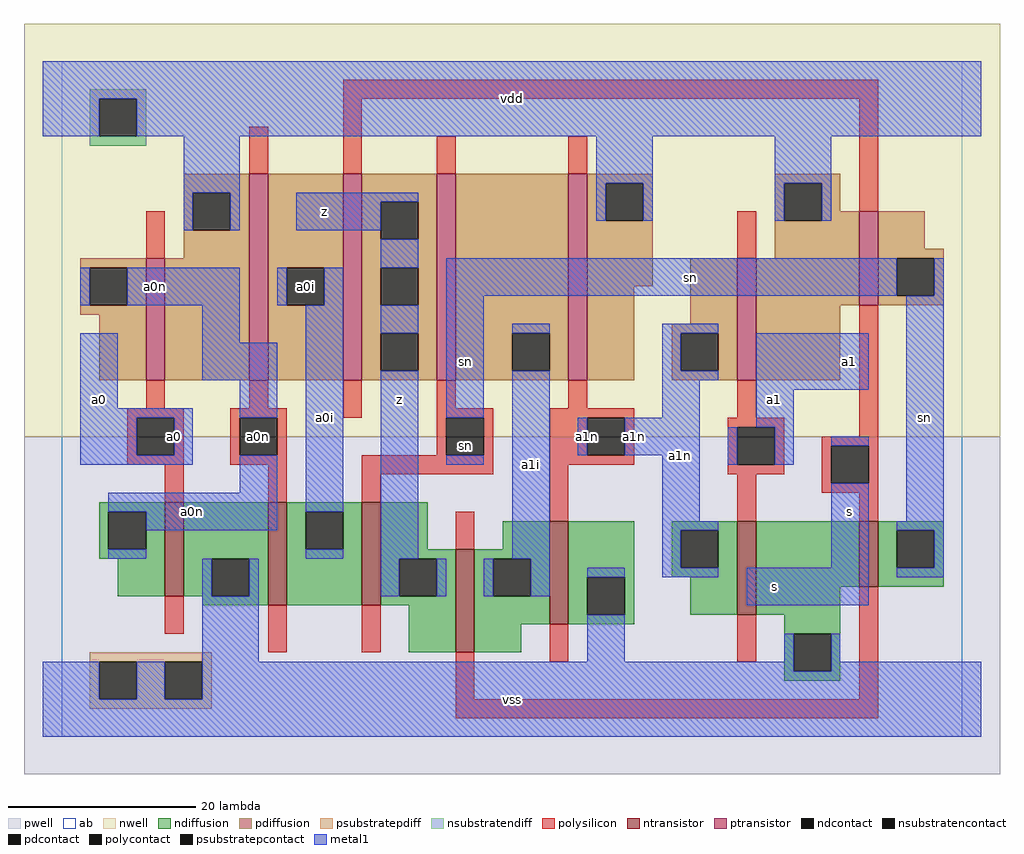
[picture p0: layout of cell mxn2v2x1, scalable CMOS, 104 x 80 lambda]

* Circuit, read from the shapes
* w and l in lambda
.subckt mxn2v2x1 a0 a0i a0n a1 a1i a1n s sn vdd vss z
M1 vss a0 a0n vss nfet w=10 l=2
M2 a0i a0n vss vss nfet w=11 l=2
M3 z sn a0i vss nfet w=11 l=2
M4 a1i s z vss nfet w=11 l=2
M5 vss a1n a1i vss nfet w=11 l=2
M6 vss a1 a1n vss nfet w=10 l=2
M7 sn s vss vss nfet w=7 l=2
M8 vdd a0 a0n vdd pfet w=13 l=2
M9 a0i a0n vdd vdd pfet w=22 l=2
M10 z s a0i vdd pfet w=22 l=2
M11 a1i sn z vdd pfet w=22 l=2
M12 vdd a1n a1i vdd pfet w=22 l=2
M13 vdd a1 a1n vdd pfet w=13 l=2
M14 sn s vdd vdd pfet w=10 l=2
.ends

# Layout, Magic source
magic
tech scmos
<< ab >>
rect 0 0 96 72
<< pwell >>
rect -4 -4 100 32
<< nwell >>
rect -4 32 100 76
<< polysilicon >>
rect 30 68 87 70
rect 20 60 22 65
rect 30 60 32 68
rect 40 60 42 64
rect 54 60 56 64
rect 9 51 11 56
rect 72 51 74 56
rect 85 56 87 68
rect 9 35 11 38
rect 20 35 22 38
rect 7 34 13 35
rect 7 30 8 34
rect 12 30 13 34
rect 7 29 13 30
rect 18 34 24 35
rect 30 34 32 38
rect 40 35 42 38
rect 54 35 56 38
rect 40 34 46 35
rect 18 30 19 34
rect 23 30 24 34
rect 40 30 41 34
rect 45 30 46 34
rect 18 29 24 30
rect 11 25 13 29
rect 22 25 24 29
rect 32 28 46 30
rect 52 34 61 35
rect 72 34 74 38
rect 52 30 56 34
rect 60 30 61 34
rect 52 29 61 30
rect 71 33 77 34
rect 71 29 72 33
rect 76 29 77 33
rect 85 32 87 46
rect 32 25 34 28
rect 11 11 13 15
rect 42 20 44 24
rect 52 23 54 29
rect 71 28 77 29
rect 81 31 87 32
rect 72 23 74 28
rect 81 27 82 31
rect 86 27 87 31
rect 81 26 87 27
rect 85 23 87 26
rect 22 9 24 14
rect 32 9 34 14
rect 42 4 44 9
rect 52 8 54 12
rect 72 8 74 13
rect 85 4 87 16
rect 42 2 87 4
<< ndiffusion >>
rect 4 24 11 25
rect 4 20 5 24
rect 9 20 11 24
rect 4 19 11 20
rect 6 15 11 19
rect 13 19 22 25
rect 13 15 16 19
rect 20 15 22 19
rect 15 14 22 15
rect 24 24 32 25
rect 24 20 26 24
rect 30 20 32 24
rect 24 14 32 20
rect 34 20 39 25
rect 47 20 52 23
rect 34 19 42 20
rect 34 15 36 19
rect 40 15 42 19
rect 34 14 42 15
rect 37 9 42 14
rect 44 19 52 20
rect 44 15 46 19
rect 50 15 52 19
rect 44 12 52 15
rect 54 17 61 23
rect 65 22 72 23
rect 65 18 66 22
rect 70 18 72 22
rect 65 17 72 18
rect 54 13 56 17
rect 60 13 61 17
rect 67 13 72 17
rect 74 16 85 23
rect 87 22 94 23
rect 87 18 89 22
rect 93 18 94 22
rect 87 16 94 18
rect 74 13 83 16
rect 54 12 61 13
rect 44 9 49 12
rect 77 11 83 13
rect 77 7 78 11
rect 82 7 83 11
rect 77 6 83 7
<< pdiffusion >>
rect 13 58 20 60
rect 13 54 14 58
rect 18 54 20 58
rect 13 51 20 54
rect 2 50 9 51
rect 2 46 3 50
rect 7 46 9 50
rect 2 45 9 46
rect 4 38 9 45
rect 11 38 20 51
rect 22 50 30 60
rect 22 46 24 50
rect 28 46 30 50
rect 22 38 30 46
rect 32 57 40 60
rect 32 53 34 57
rect 38 53 40 57
rect 32 50 40 53
rect 32 46 34 50
rect 38 46 40 50
rect 32 43 40 46
rect 32 39 34 43
rect 38 39 40 43
rect 32 38 40 39
rect 42 43 54 60
rect 42 39 48 43
rect 52 39 54 43
rect 42 38 54 39
rect 56 59 63 60
rect 56 55 58 59
rect 62 55 63 59
rect 76 59 83 60
rect 56 48 63 55
rect 76 55 77 59
rect 81 56 83 59
rect 81 55 85 56
rect 76 51 85 55
rect 56 38 61 48
rect 67 44 72 51
rect 65 43 72 44
rect 65 39 66 43
rect 70 39 72 43
rect 65 38 72 39
rect 74 46 85 51
rect 87 52 92 56
rect 87 51 94 52
rect 87 47 89 51
rect 93 47 94 51
rect 87 46 94 47
rect 74 38 83 46
<< metal1 >>
rect -2 68 98 72
rect -2 64 4 68
rect 8 64 98 68
rect 13 58 19 64
rect 57 59 63 64
rect 13 54 14 58
rect 18 54 19 58
rect 25 57 38 58
rect 25 54 34 57
rect 57 55 58 59
rect 62 55 63 59
rect 76 59 82 64
rect 76 55 77 59
rect 81 55 82 59
rect 34 50 38 53
rect 2 46 3 50
rect 7 46 19 50
rect 23 46 24 50
rect 28 46 30 50
rect 2 35 6 43
rect 15 42 19 46
rect 15 38 23 42
rect 2 34 14 35
rect 2 30 8 34
rect 12 30 14 34
rect 2 29 14 30
rect 19 34 23 38
rect 19 26 23 30
rect 5 24 23 26
rect 9 22 23 24
rect 26 24 30 46
rect 5 19 9 20
rect 26 19 30 20
rect 34 43 38 46
rect 34 19 38 39
rect 41 47 89 51
rect 93 47 94 51
rect 41 34 45 47
rect 41 29 45 30
rect 48 43 52 44
rect 48 19 52 39
rect 64 43 70 44
rect 64 39 66 43
rect 64 38 70 39
rect 64 34 68 38
rect 55 30 56 34
rect 60 30 68 34
rect 74 37 86 43
rect 74 33 78 37
rect 15 15 16 19
rect 20 15 21 19
rect 34 15 36 19
rect 40 15 41 19
rect 45 15 46 19
rect 50 15 52 19
rect 64 23 68 30
rect 71 29 72 33
rect 76 29 78 33
rect 82 31 86 32
rect 64 22 70 23
rect 64 18 66 22
rect 82 18 86 27
rect 90 23 94 47
rect 56 17 60 18
rect 64 17 70 18
rect 15 8 21 15
rect 73 14 86 18
rect 89 22 94 23
rect 93 18 94 22
rect 89 17 94 18
rect 56 8 60 13
rect 77 8 78 11
rect -2 4 4 8
rect 8 4 11 8
rect 15 7 78 8
rect 82 8 83 11
rect 82 7 98 8
rect 15 4 98 7
rect -2 0 98 4
<< ntransistor >>
rect 11 15 13 25
rect 22 14 24 25
rect 32 14 34 25
rect 42 9 44 20
rect 52 12 54 23
rect 72 13 74 23
rect 85 16 87 23
<< ptransistor >>
rect 9 38 11 51
rect 20 38 22 60
rect 30 38 32 60
rect 40 38 42 60
rect 54 38 56 60
rect 72 38 74 51
rect 85 46 87 56
<< polycontact >>
rect 8 30 12 34
rect 19 30 23 34
rect 41 30 45 34
rect 56 30 60 34
rect 72 29 76 33
rect 82 27 86 31
<< ndcontact >>
rect 5 20 9 24
rect 16 15 20 19
rect 26 20 30 24
rect 36 15 40 19
rect 46 15 50 19
rect 66 18 70 22
rect 56 13 60 17
rect 89 18 93 22
rect 78 7 82 11
<< pdcontact >>
rect 14 54 18 58
rect 3 46 7 50
rect 24 46 28 50
rect 34 53 38 57
rect 34 46 38 50
rect 34 39 38 43
rect 48 39 52 43
rect 58 55 62 59
rect 77 55 81 59
rect 66 39 70 43
rect 89 47 93 51
<< psubstratepcontact >>
rect 4 4 8 8
rect 11 4 15 8
<< nsubstratencontact >>
rect 4 64 8 68
<< psubstratepdiff >>
rect 3 8 16 9
rect 3 4 4 8
rect 8 4 11 8
rect 15 4 16 8
rect 3 3 16 4
<< nsubstratendiff >>
rect 3 68 9 69
rect 3 64 4 68
rect 8 64 9 68
rect 3 63 9 64
<< labels >>
rlabel polycontact 21 32 21 32 6 a0n
rlabel polycontact 43 31 43 31 6 sn
rlabel polysilicon 56 32 56 32 6 a1n
rlabel metal1 12 32 12 32 6 a0
rlabel metal1 4 36 4 36 6 a0
rlabel metal1 14 24 14 24 6 a0n
rlabel polycontact 21 32 21 32 6 a0n
rlabel metal1 28 34 28 34 6 a0i
rlabel metal1 10 48 10 48 6 a0n
rlabel pdcontact 26 48 26 48 6 a0i
rlabel metal1 28 56 28 56 6 z
rlabel metal1 48 4 48 4 6 vss
rlabel metal1 36 36 36 36 6 z
rlabel metal1 50 29 50 29 6 a1i
rlabel metal1 43 40 43 40 6 sn
rlabel metal1 48 68 48 68 6 vdd
rlabel metal1 76 16 76 16 6 s
rlabel metal1 61 32 61 32 6 a1n
rlabel metal1 76 36 76 36 6 a1
rlabel metal1 66 30 66 30 6 a1n
rlabel metal1 84 24 84 24 6 s
rlabel metal1 84 40 84 40 6 a1
rlabel metal1 92 34 92 34 6 sn
rlabel metal1 67 49 67 49 6 sn
<< end >>
